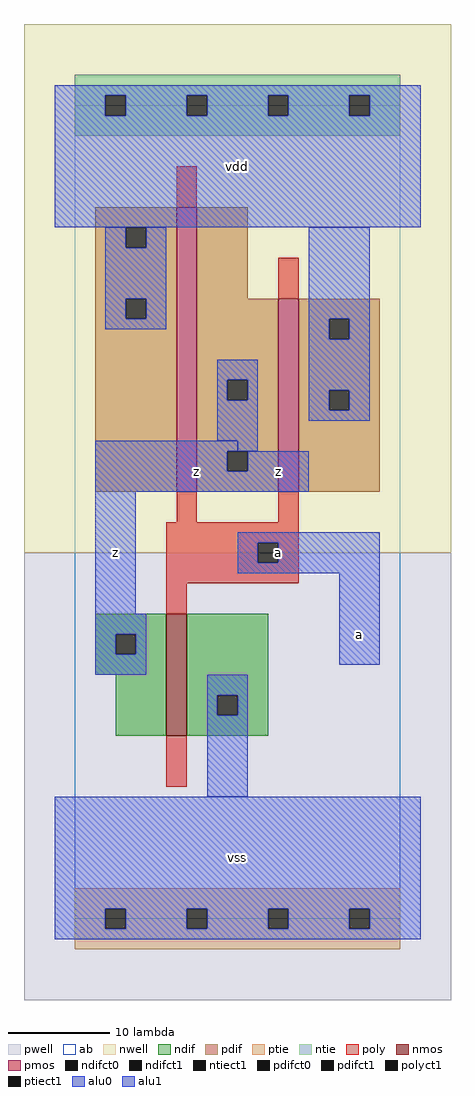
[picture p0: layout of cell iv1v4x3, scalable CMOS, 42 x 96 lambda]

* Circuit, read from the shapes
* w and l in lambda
.subckt iv1v4x3 a vdd vss z
M1 vss a z vss nfet w=12 l=2
M2 z a vdd vdd pfet w=28 l=2
M3 vdd a z vdd pfet w=19 l=2
.ends

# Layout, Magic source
magic
tech scmos
<< ab >>
rect 0 0 32 80
<< nwell >>
rect -5 36 37 88
<< pwell >>
rect -5 -8 37 36
<< poly >>
rect 10 70 12 74
rect 20 61 22 65
rect 10 39 12 42
rect 20 39 22 42
rect 9 37 22 39
rect 9 35 18 37
rect 20 35 22 37
rect 9 33 22 35
rect 9 30 11 33
rect 9 13 11 18
<< ndif >>
rect 2 28 9 30
rect 2 26 4 28
rect 6 26 9 28
rect 2 24 9 26
rect 4 18 9 24
rect 11 22 19 30
rect 11 20 14 22
rect 16 20 19 22
rect 11 18 19 20
<< pdif >>
rect 2 68 10 70
rect 2 66 5 68
rect 7 66 10 68
rect 2 61 10 66
rect 2 59 5 61
rect 7 59 10 61
rect 2 42 10 59
rect 12 61 17 70
rect 12 53 20 61
rect 12 51 15 53
rect 17 51 20 53
rect 12 46 20 51
rect 12 44 15 46
rect 17 44 20 46
rect 12 42 20 44
rect 22 59 30 61
rect 22 57 25 59
rect 27 57 30 59
rect 22 52 30 57
rect 22 50 25 52
rect 27 50 30 52
rect 22 42 30 50
<< alu1 >>
rect -2 81 34 82
rect -2 79 3 81
rect 5 79 11 81
rect 13 79 19 81
rect 21 79 27 81
rect 29 79 34 81
rect -2 68 34 79
rect 2 46 16 47
rect 2 44 15 46
rect 17 44 23 46
rect 2 42 23 44
rect 2 30 6 42
rect 16 37 30 38
rect 16 35 18 37
rect 20 35 30 37
rect 16 34 30 35
rect 2 28 7 30
rect 2 26 4 28
rect 6 26 7 28
rect 2 24 7 26
rect 26 25 30 34
rect -2 1 34 12
rect -2 -1 3 1
rect 5 -1 11 1
rect 13 -1 19 1
rect 21 -1 27 1
rect 29 -1 34 1
rect -2 -2 34 -1
<< ptie >>
rect 0 1 32 3
rect 0 -1 3 1
rect 5 -1 11 1
rect 13 -1 19 1
rect 21 -1 27 1
rect 29 -1 32 1
rect 0 -3 32 -1
<< ntie >>
rect 0 81 32 83
rect 0 79 3 81
rect 5 79 11 81
rect 13 79 19 81
rect 21 79 27 81
rect 29 79 32 81
rect 0 77 32 79
<< nmos >>
rect 9 18 11 30
<< pmos >>
rect 10 42 12 70
rect 20 42 22 61
<< polyct1 >>
rect 18 35 20 37
<< ndifct0 >>
rect 14 20 16 22
<< ndifct1 >>
rect 4 26 6 28
<< ntiect1 >>
rect 3 79 5 81
rect 11 79 13 81
rect 19 79 21 81
rect 27 79 29 81
<< ptiect1 >>
rect 3 -1 5 1
rect 11 -1 13 1
rect 19 -1 21 1
rect 27 -1 29 1
<< pdifct0 >>
rect 5 66 7 68
rect 5 59 7 61
rect 15 51 17 53
rect 25 57 27 59
rect 25 50 27 52
<< pdifct1 >>
rect 15 44 17 46
<< alu0 >>
rect 3 66 5 68
rect 7 66 9 68
rect 3 61 9 66
rect 3 59 5 61
rect 7 59 9 61
rect 3 58 9 59
rect 23 59 29 68
rect 23 57 25 59
rect 27 57 29 59
rect 14 53 18 55
rect 14 51 15 53
rect 17 51 18 53
rect 14 47 18 51
rect 23 52 29 57
rect 23 50 25 52
rect 27 50 29 52
rect 23 49 29 50
rect 16 46 18 47
rect 13 22 17 24
rect 13 20 14 22
rect 16 20 17 22
rect 13 12 17 20
<< labels >>
rlabel alu1 4 36 4 36 6 z
rlabel alu1 12 44 12 44 6 z
rlabel alu1 16 6 16 6 6 vss
rlabel alu1 20 36 20 36 6 a
rlabel alu1 20 44 20 44 6 z
rlabel alu1 16 74 16 74 6 vdd
rlabel alu1 28 28 28 28 6 a
<< end >>
